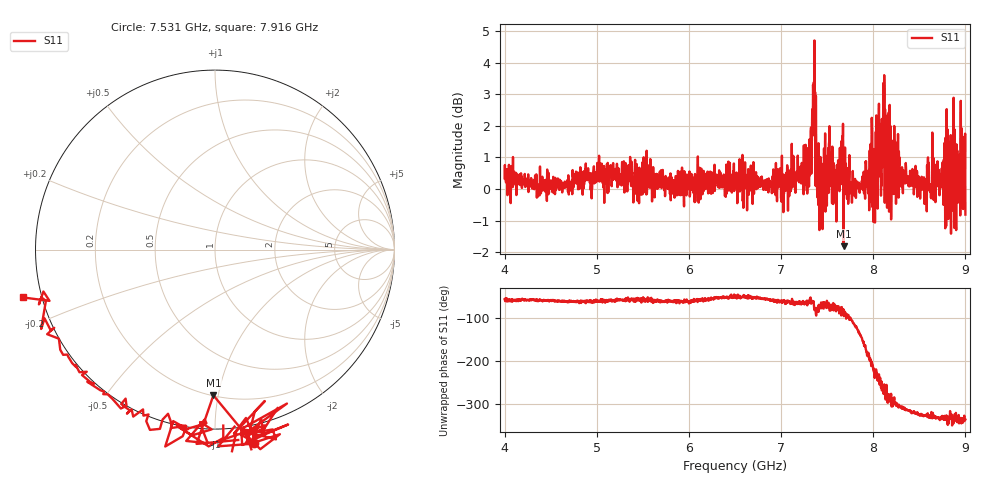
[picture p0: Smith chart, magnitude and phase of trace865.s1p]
! Created with skrf 1.8.0 (http://scikit-rf.org).
# Hz S RI R 50.0
!freq ReS11 ImS11
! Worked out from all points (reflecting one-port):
!   1601 points, 4 GHz to 9 GHz, reference 50 ohm
!   lowest |S11| = -1.8 dB at 7.678 GHz (marker M1), VSWR 9.64, Z = 10.2 - j48.4 ohm
!   phase of S11 starts at -56 deg and turns -280 deg over the sweep
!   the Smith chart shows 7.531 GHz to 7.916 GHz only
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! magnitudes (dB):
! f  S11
! 4 GHz  0.3
! 4.625 GHz  -0.1
! 5.028 GHz  0.2
! 5.25 GHz  0.3
! 5.875 GHz  0.3
! 6.5 GHz  0.4
! 7.038 GHz  0.1
! 7.125 GHz  0.5
! 7.294 GHz  1.3
! 7.356 GHz  3.4
! 7.388 GHz  0.2
! 7.4 GHz  0.1
! 7.438 GHz  -0.4
! 7.525 GHz  2.0
! 7.588 GHz  0.5
! 7.65 GHz  1.3
! 7.678 GHz  -1.8
! 7.75 GHz  0.0
! 7.934 GHz  0.1
! 8.119 GHz  3.6
! 8.197 GHz  -0.3
! 8.375 GHz  0.4
! 8.556 GHz  -0.5
! 8.841 GHz  1.7
! 8.866 GHz  0.2
! 8.919 GHz  -0.1
! 8.972 GHz  0.6
! 9 GHz  -0.8
